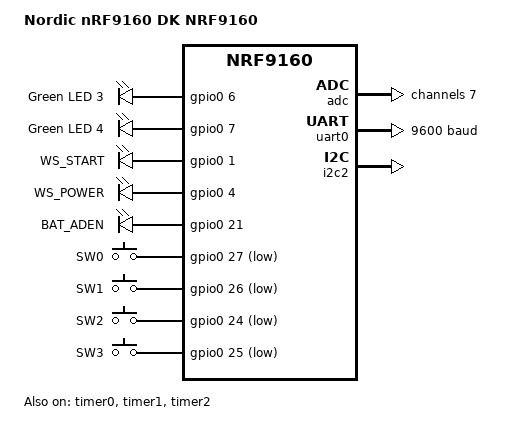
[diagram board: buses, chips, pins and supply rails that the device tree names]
/*
 * Copyright (c) 2018-2020 Nordic Semiconductor ASA
 *
 * SPDX-License-Identifier: Apache-2.0
 */

/*
 * DIP ORG_NAME->PCB_NAME   nRF9160 NAME
 * 2   GPIO0     SW1        P0.26   button1
 * 3   GPIO1     SW0        P0.27   button0
 * 4   I2C_SDA   I2C_SDA    P0.29   i2c2
 * 5   I2C_SCL   I2C_SCL    P0.30   i2c2
 * 6   LED       NC         P0.31   
 * 8   SPI_MOSI  WS_START   P0.01   led2
 * 9   SPI_MISO  WS_UART_RX P0.02   uart0
 * 10  SPI_CLK   NC         P0.03   
 * 11  SPI_NSS   WS_POWER   P0.04   led3
 * 19  WAKE_OUT  BAT_ADV    P0.20   adc
 * 20  WAKE_IN   BAT_ADEN   P0.21   led4
 * 21  UART_RX   UART_RX    P0.22   *****
 * 22  UART_TX   UART_TX    P0.23   uart0
 * 23  UART_CTS  SW2        P0.24   button2
 * 24  UART_RTS  SW3        P0.25   button3
 *     ST_A_LED             P0.06   led0
 *     ST_B_LED             P0.07   led1
 */

#include "scm-ltem1nrf_nrf9160_common-pinctrl.dtsi"

/ {
	model = "Nordic nRF9160 DK NRF9160";
	compatible = "nordic,nrf9160-dk-nrf9160";

	chosen {
		zephyr,console = &uart0;
		zephyr,shell-uart = &uart0;
		zephyr,uart-mcumgr = &uart0;
	};

	leds {
		compatible = "gpio-leds";
		led0: led_0 {
			gpios = <&gpio0 6 0>;
			label = "Green LED 3";
		};
		led1: led_1 {
			gpios = <&gpio0 7 0>;
			label = "Green LED 4";
		};
		led2: led_2 {
			gpios = <&gpio0 1 0>;
			label = "WS_START";
		};
		led3: led_3 {
			gpios = <&gpio0 4 0>;
			label = "WS_POWER";
		};
		led4: led_4 {
			gpios = <&gpio0 21 0>;
			label = "BAT_ADEN";
		};
	};

	buttons {
		compatible = "gpio-keys";
		button0: button_0 {
			gpios = <&gpio0 27 (GPIO_PULL_UP | GPIO_ACTIVE_LOW)>;
			label = "SW0";
		};

		button1: button_1 {
			gpios = <&gpio0 26 (GPIO_PULL_UP | GPIO_ACTIVE_LOW)>;
			label = "SW1";
		};

		button2: button_2 {
			gpios = <&gpio0 24 (GPIO_PULL_UP | GPIO_ACTIVE_LOW)>;
			label = "SW2";
		};

		button3: button_3 {
			gpios = <&gpio0 25 (GPIO_PULL_UP | GPIO_ACTIVE_LOW)>;
			label = "SW3";
		};
	};

	/* These aliases are provided for compatibility with samples */
	aliases {
		led0 = &led0;
		led1 = &led1;
		led2 = &led2;
		led3 = &led3;
		led4 = &led4;
		sw0 = &button0;
		sw1 = &button1;
		sw2 = &button2;
		sw3 = &button3;
		watchdog0 = &wdt0;
	};
};

&adc {
	#address-cells = <1>;
	#size-cells = <0>;
 
	status = "okay";
	channel@0 {
		reg = <7>;
		zephyr,gain = "ADC_GAIN_1_6";
		zephyr,reference = "ADC_REF_INTERNAL";
		zephyr,vref-mv = <600>;
		zephyr,acquisition-time = <ADC_ACQ_TIME(ADC_ACQ_TIME_MICROSECONDS, 40)>;
		zephyr,resolution = <12>;
		zephyr,oversampling = <3>;
		zephyr,input-positive = <NRF_SAADC_AIN7>;
	};
};

&gpiote {
	status = "okay";
};

&gpio0 {
	status = "okay";
};

&uart0 {
	status = "okay";
	current-speed = <9600>;
	pinctrl-0 = <&uart0_default>;
	pinctrl-1 = <&uart0_sleep>;
	pinctrl-names = "default", "sleep";
};

/*
&uart1 {
	status = "okay";
	current-speed = <9600>;
	pinctrl-0 = <&uart1_default>;
	pinctrl-1 = <&uart1_sleep>;
	pinctrl-names = "default", "sleep";
};
*/

&i2c2 {
	compatible = "nordic,nrf-twim";
	status = "okay";
	pinctrl-0 = <&i2c2_default>;
	pinctrl-1 = <&i2c2_sleep>;
	pinctrl-names = "default", "sleep";
};

&timer0 {
	status = "okay";
};

&timer1 {
	status = "okay";
};

&timer2 {
	status = "okay";
};

&flash0 {

	partitions {
		compatible = "fixed-partitions";
		#address-cells = <1>;
		#size-cells = <1>;

		boot_partition: partition@0 {
			label = "mcuboot";
			reg = <0x00000000 0x10000>;
		};
		slot0_partition: partition@10000 {
			label = "image-0";
		};
		slot0_ns_partition: partition@50000 {
			label = "image-0-nonsecure";
		};
		slot1_partition: partition@80000 {
			label = "image-1";
		};
		slot1_ns_partition: partition@c0000 {
			label = "image-1-nonsecure";
		};
		scratch_partition: partition@f0000 {
			label = "image-scratch";
			reg = <0x000f0000 0xa000>;
		};
		storage_partition: partition@fa000 {
			label = "storage";
			reg = <0x000fa000 0x00006000>;
		};
	};
};

/ {

	reserved-memory {
		#address-cells = <1>;
		#size-cells = <1>;
		ranges;

		sram0_s: image_s@20000000 {
			/* Secure image memory */
		};

		sram0_modem: image_modem@20016000 {
			/* Modem (shared) memory */
		};

		sram0_ns: image_ns@20020000 {
			/* Non-Secure image memory */
		};
	};
};

/* Include partition configuration file */
#include "scm-ltem1nrf_nrf9160_partition_conf.dts"
